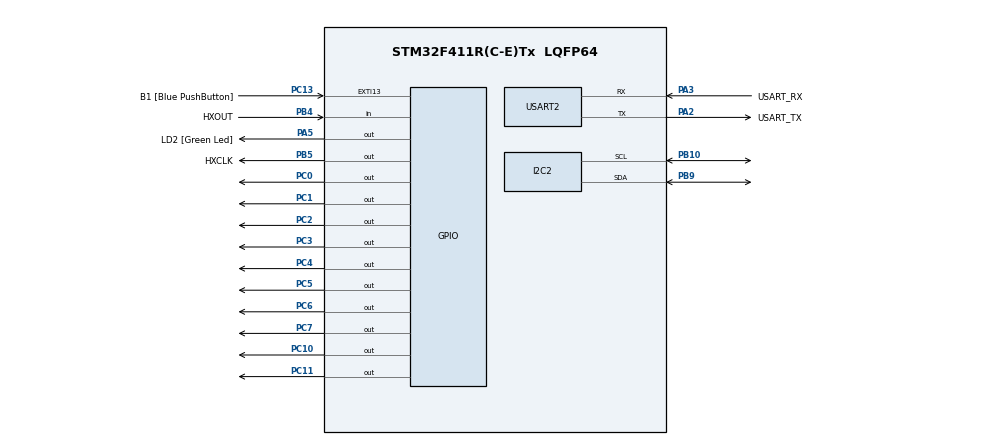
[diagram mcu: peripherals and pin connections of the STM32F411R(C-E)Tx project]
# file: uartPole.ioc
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FREERTOS.BinarySemaphores01=myBinarySem01,Dynamic,NULL;myBinarySem02,Dynamic,NULL
FREERTOS.Tasks01=defaultTask,8,128,StartDefaultTask,Default,NULL,Dynamic,NULL,NULL;myTask02,48,1024,StartTask02,Default,NULL,Dynamic,NULL,NULL;myTask03,24,1024,StartTask03,Default,NULL,Dynamic,NULL,NULL;myTask04,8,1024,StartTask04,Default,NULL,Dynamic,NULL,NULL
Mcu.Family=STM32F4
Mcu.Name=STM32F411R(C-E)Tx
Mcu.Package=LQFP64
NVIC.PriorityGroup=NVIC_PRIORITYGROUP_4
NVIC.USART2_IRQn=true\:8\:0\:true\:false\:true\:true\:true\:true\:true
PA13.GPIO_Label=TMS
PA13.Mode=Serial_Wire
PA13.Signal=SYS_JTMS-SWDIO
PA14.GPIO_Label=TCK
PA14.Mode=Serial_Wire
PA14.Signal=SYS_JTCK-SWCLK
PA2.GPIO_Label=USART_TX
PA2.Mode=Asynchronous
PA2.Signal=USART2_TX
PA3.GPIO_Label=USART_RX
PA3.Mode=Asynchronous
PA3.Signal=USART2_RX
PA5.GPIO_Label=LD2 [Green Led]
PA5.Signal=GPIO_Output
PB10.Mode=I2C
PB10.Signal=I2C2_SCL
PB3.GPIO_Label=SWO
PB3.Signal=SYS_JTDO-SWO
PB4.GPIO_Label=HXOUT
PB4.Signal=GPIO_Input
PB5.GPIO_Label=HXCLK
PB5.Signal=GPIO_Output
PB9.Mode=I2C
PB9.Signal=I2C2_SDA
PC0.GPIO_PuPd=GPIO_PULLUP
PC0.GPIO_Speed=GPIO_SPEED_FREQ_HIGH
PC0.Signal=GPIO_Output
PC1.GPIO_PuPd=GPIO_PULLUP
PC1.GPIO_Speed=GPIO_SPEED_FREQ_HIGH
PC1.Signal=GPIO_Output
PC10.Signal=GPIO_Output
PC11.Signal=GPIO_Output
PC13-ANTI_TAMP.GPIO_Label=B1 [Blue PushButton]
PC13-ANTI_TAMP.GPIO_ModeDefaultEXTI=GPIO_MODE_IT_FALLING
PC13-ANTI_TAMP.Signal=GPXTI13
PC14-OSC32_IN.Mode=LSE-External-Oscillator
PC14-OSC32_IN.Signal=RCC_OSC32_IN
PC15-OSC32_OUT.Mode=LSE-External-Oscillator
PC15-OSC32_OUT.Signal=RCC_OSC32_OUT
PC2.GPIO_PuPd=GPIO_PULLUP
PC2.Signal=GPIO_Output
PC3.GPIO_PuPd=GPIO_PULLUP
PC3.Signal=GPIO_Output
PC4.GPIO_PuPd=GPIO_PULLUP
PC4.Signal=GPIO_Output
PC5.GPIO_PuPd=GPIO_PULLUP
PC5.Signal=GPIO_Output
PC6.GPIO_PuPd=GPIO_PULLUP
PC6.Signal=GPIO_Output
PC7.GPIO_PuPd=GPIO_PULLUP
PC7.Signal=GPIO_Output
PH0\ -\ OSC_IN.Mode=HSE-External-Clock-Source
PH0\ -\ OSC_IN.Signal=RCC_OSC_IN
PH1\ -\ OSC_OUT.Mode=HSE-External-Clock-Source
PH1\ -\ OSC_OUT.Signal=RCC_OSC_OUT
ProjectManager.HeapSize=0x200
ProjectManager.StackSize=0x400
ProjectManager.TargetToolchain=MDK-ARM V5.32
RCC.48MHZClocksFreq_Value=50000000
RCC.AHBFreq_Value=100000000
RCC.APB1CLKDivider=RCC_HCLK_DIV2
RCC.APB1Freq_Value=50000000
RCC.APB1TimFreq_Value=100000000
RCC.APB2Freq_Value=100000000
RCC.APB2TimFreq_Value=100000000
RCC.CortexFreq_Value=100000000
RCC.FLatency-AdvancedSettings=FLASH_LATENCY_3
RCC.HCLKFreq_Value=100000000
RCC.HSE_VALUE=8000000
RCC.HSI_VALUE=16000000
RCC.PLLM=8
RCC.PLLN=100
RCC.SYSCLKFreq_VALUE=100000000
RCC.SYSCLKSource=RCC_SYSCLKSOURCE_PLLCLK
RCC.VCOOutputFreq_Value=200000000
TIM4.Period=4
TIM4.Prescaler=99
USART2.VirtualMode=VM_ASYNC
VP_FREERTOS_VS_CMSIS_V2.Mode=CMSIS_V2
VP_TIM4_VS_ClockSourceINT.Mode=Internal
board=NUCLEO-F411RE

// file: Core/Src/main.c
/* USER CODE BEGIN Header */
/**
  ******************************************************************************
  * @file           : main.c
  * @brief          : Main program body
  ******************************************************************************
  * @attention
  *
  * Copyright (c) 2022 STMicroelectronics.
  * All rights reserved.
  *
  * This software is licensed under terms that can be found in the LICENSE file
  * in the root directory of this software component.
  * If no LICENSE file comes with this software, it is provided AS-IS.
  *
  ******************************************************************************
  */
/* USER CODE END Header */
#include "main.h"
#include "cmsis_os.h"
#include "i2c.h"
#include "tim.h"
#include "usart.h"
#include "gpio.h"

/* USER CODE BEGIN Includes */
#include "delay.h"
/* USER CODE END Includes */

void SystemClock_Config(void);
void MX_FREERTOS_Init(void);

int main(void)
{

  /* MCU Configuration--------------------------------------------------------*/

  /* Reset of all peripherals, Initializes the Flash interface and the Systick. */
  HAL_Init();

  /* Configure the system clock */
  SystemClock_Config();

  /* Initialize all configured peripherals */
  MX_GPIO_Init();
  MX_USART2_UART_Init();
  MX_TIM4_Init();
  MX_I2C2_Init();
  /* USER CODE BEGIN 2 */
	  if(DWT_Delay_Init())

  {

    Error_Handler(); /* Call Error Handler */

  }
  /* USER CODE END 2 */

  /* Init scheduler */
  osKernelInitialize();  /* Call init function for freertos objects (in freertos.c) */
  MX_FREERTOS_Init();

  /* Start scheduler */
  osKernelStart();

  /* We should never get here as control is now taken by the scheduler */
  /* Infinite loop */
  while (1)
  {

  }
}

void SystemClock_Config(void)
{
  LL_FLASH_SetLatency(LL_FLASH_LATENCY_3);
  while(LL_FLASH_GetLatency()!= LL_FLASH_LATENCY_3)
  {
  }
  LL_PWR_SetRegulVoltageScaling(LL_PWR_REGU_VOLTAGE_SCALE1);
  LL_RCC_HSI_SetCalibTrimming(16);
  LL_RCC_HSI_Enable();

   /* Wait till HSI is ready */
  while(LL_RCC_HSI_IsReady() != 1)
  {

  }
  LL_RCC_PLL_ConfigDomain_SYS(LL_RCC_PLLSOURCE_HSI, LL_RCC_PLLM_DIV_8, 100, LL_RCC_PLLP_DIV_2);
  LL_RCC_PLL_Enable();

   /* Wait till PLL is ready */
  while(LL_RCC_PLL_IsReady() != 1)
  {

  }
  LL_RCC_SetAHBPrescaler(LL_RCC_SYSCLK_DIV_1);
  LL_RCC_SetAPB1Prescaler(LL_RCC_APB1_DIV_2);
  LL_RCC_SetAPB2Prescaler(LL_RCC_APB2_DIV_1);
  LL_RCC_SetSysClkSource(LL_RCC_SYS_CLKSOURCE_PLL);

   /* Wait till System clock is ready */
  while(LL_RCC_GetSysClkSource() != LL_RCC_SYS_CLKSOURCE_STATUS_PLL)
  {

  }
  LL_SetSystemCoreClock(100000000);

   /* Update the time base */
  if (HAL_InitTick (TICK_INT_PRIORITY) != HAL_OK)
  {
    Error_Handler();
  }
  LL_RCC_SetTIMPrescaler(LL_RCC_TIM_PRESCALER_TWICE);
}

void Error_Handler(void)
{
  __disable_irq();
  while (1)
  {
  }
}

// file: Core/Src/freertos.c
/* USER CODE BEGIN Header */
/**
  ******************************************************************************
  * File Name          : freertos.c
  * Description        : Code for freertos applications
  ******************************************************************************
  * @attention
  *
  * Copyright (c) 2022 STMicroelectronics.
  * All rights reserved.
  *
  * This software is licensed under terms that can be found in the LICENSE file
  * in the root directory of this software component.
  * If no LICENSE file comes with this software, it is provided AS-IS.
  *
  ******************************************************************************
  */
/* USER CODE END Header */

#include "FreeRTOS.h"
#include "task.h"
#include "main.h"
#include "cmsis_os.h"

/* USER CODE BEGIN Includes */
#include "gpio.h"
//#include "tim.h"
#include "delay.h"
#include <string.h>
#include <stdio.h>
#include "usart.h"
#include "queue.h"
#include "HX711.h"
#include "oled.h"

#include "iic.h"
#include "ad5933.h"

#include "bmp.h"
/* USER CODE END Includes */

/* USER CODE BEGIN Variables */
uint32_t realForce=0;
uint8_t forceTXBuffer[200];
uint8_t impTXBuffer[800];
uint8_t phTXBuffer[800];
uint8_t singleSample[100];
uint8_t pair_code;

ImpeType  impe;

/* USER CODE END Variables */
/* Definitions for defaultTask */
osThreadId_t defaultTaskHandle;
const osThreadAttr_t defaultTask_attributes = {
  .name = "defaultTask",
  .stack_size = 128 * 4,
  .priority = (osPriority_t) osPriorityLow,
};
/* Definitions for myTask02 */
osThreadId_t myTask02Handle;
const osThreadAttr_t myTask02_attributes = {
  .name = "myTask02",
  .stack_size = 1024 * 4,
  .priority = (osPriority_t) osPriorityRealtime,
};
/* Definitions for myTask03 */
osThreadId_t myTask03Handle;
const osThreadAttr_t myTask03_attributes = {
  .name = "myTask03",
  .stack_size = 1024 * 4,
  .priority = (osPriority_t) osPriorityNormal,
};
/* Definitions for myTask04 */
osThreadId_t myTask04Handle;
const osThreadAttr_t myTask04_attributes = {
  .name = "myTask04",
  .stack_size = 1024 * 4,
  .priority = (osPriority_t) osPriorityLow,
};
/* Definitions for myBinarySem01 */
osSemaphoreId_t myBinarySem01Handle;
const osSemaphoreAttr_t myBinarySem01_attributes = {
  .name = "myBinarySem01"
};
/* Definitions for myBinarySem02 */
osSemaphoreId_t myBinarySem02Handle;
const osSemaphoreAttr_t myBinarySem02_attributes = {
  .name = "myBinarySem02"
};

/* USER CODE BEGIN FunctionPrototypes */
void adg708set_pin_port(uint8_t pin_pair_id);

/* USER CODE END FunctionPrototypes */

void StartDefaultTask(void *argument);
void StartTask02(void *argument);
void StartTask03(void *argument);
void StartTask04(void *argument);

void MX_FREERTOS_Init(void); /* (MISRA C 2004 rule 8.1) */

void MX_FREERTOS_Init(void) {

  /* Create the semaphores(s) */
  /* creation of myBinarySem01 */
  myBinarySem01Handle = osSemaphoreNew(1, 1, &myBinarySem01_attributes);

  /* creation of myBinarySem02 */
  myBinarySem02Handle = osSemaphoreNew(1, 1, &myBinarySem02_attributes);

  /* Create the thread(s) */
  /* creation of defaultTask */
  defaultTaskHandle = osThreadNew(StartDefaultTask, NULL, &defaultTask_attributes);

  /* creation of myTask02 */
  myTask02Handle = osThreadNew(StartTask02, NULL, &myTask02_attributes);

  /* creation of myTask03 */
  myTask03Handle = osThreadNew(StartTask03, NULL, &myTask03_attributes);

  /* creation of myTask04 */
  myTask04Handle = osThreadNew(StartTask04, NULL, &myTask04_attributes);

}

void StartDefaultTask(void *argument)
{
  /* USER CODE BEGIN StartDefaultTask */
  /* Infinite loop */
  for(;;)
  {
		LL_GPIO_TogglePin(GPIOA,LL_GPIO_PIN_5);
		osDelay(500);
  }
  /* USER CODE END StartDefaultTask */
}

void StartTask02(void *argument)
{

  /* USER CODE BEGIN StartTask02 */
	uint8_t i;
	uint8_t itemp[50];
	//IIC_Init();
	//OLED_Init();
	float temperature;
	temperature = Temperature_Test();
	AD5933_FreInit(100000,100);
//	OLED_DrawBMP(0,0,127,7,BMP0);
//	osDelay(3000);
//	OLED_Clear();
//	OLED_ShowString(0,0,"force",12);
//	OLED_ShowString(0,2,"Am",12);
//	OLED_ShowString(0,4,"Ph",12);

//	HAL_Delay(300);
  /* Infinite loop */
	osDelay(4000);
	sprintf(itemp, "%.1f", temperature);
	OLED_ShowString(60,4,itemp,12);
  for(;;)
  {
		osSemaphoreAcquire(myBinarySem02Handle,osWaitForever);

		for(i=0, pair_code=0;i<6;i++)
		{
			adg708set_pin_port(pair_code++);
			AD5933_StartTest(0);
			AD5933_ReadImpedance(&impe);
			sprintf(itemp, "%.1f,", impe.Impedance);
			strcat(impTXBuffer,(const char *)itemp);
			sprintf(itemp, "%.3f,", impe.Phase);
			strcat(phTXBuffer,(const char *)itemp);
			osDelay(1);
		}

//			AD5933_StartTest(0);
//			AD5933_ReadImpedance(&impe);
//			sprintf(itemp, "%.2f,%.2f\r\n", impe.Impedance,impe.Phase);
//			printString(itemp);

//		OLED_ShowNum(50,2,impe.Impedance,5,32);
//		OLED_ShowNum(50,4,impe.Phase,5,32);

		//HandleContinuousReception();
		osDelay(100);
  }
  /* USER CODE END StartTask02 */
}

void StartTask03(void *argument)
{
  /* USER CODE BEGIN StartTask03 */
	/*task3 majored in force meter*/
	//pair_code = 0;
	uint8_t ftemp[15];
	uint8_t listLen;
	OLED_Init();
	OLED_DrawBMP(0,0,127,7,BMP0);
	osDelay(3000);
	OLED_Clear();
	OLED_ShowString(0,0,"Force Impedance",12);
	OLED_ShowString(0,2,"force",12);
	OLED_ShowString(0,4,"temp",12);
	StartReception();
	Get_Maopi();
	osDelay(1000);
	//printString("welcome\n");
  /* Infinite loop */
  for(;;)
  {
		osSemaphoreAcquire(myBinarySem01Handle,osWaitForever);
		switch(pycommand)
		{
			case 1://continually add force into the force list
				Get_Weight();
				realForce=Weight_Shiwu;
				sprintf(ftemp, "%d,", realForce);
				OLED_ShowNum(60,2,realForce,4,32);
				strcat(forceTXBuffer,(const char *)ftemp);
			//release sem02 to release task02 to change the mux
				osSemaphoreRelease(myBinarySem02Handle);

				break;
			case 2://continually add force into the force list

			//release sem02 to release task02 to change the mux
			//	osSemaphoreRelease(myBinarySem02Handle);

				break;
			case 3://reset force and impedance list first
				forceTXBuffer[0]='[';
				forceTXBuffer[1]='\0';
				impTXBuffer[0]='[';
				impTXBuffer[1]='\0';
				phTXBuffer[0] = '[';
				phTXBuffer[1] = '\0';
				printString("ok\n");
				pair_code=0;
//				aRXIndication=1;
				break;
			case 4://complete force list construction
				listLen=strlen(forceTXBuffer);
				forceTXBuffer[listLen-1]=']';
				forceTXBuffer[listLen]='\n';
				forceTXBuffer[listLen+1]='\0';
				printString(forceTXBuffer);
				/*set rx indication*/
//				aRXIndication=1;
				break;
			case 5://complete Impedance list construction
				listLen=strlen(impTXBuffer);
				impTXBuffer[listLen-1]=']';
				impTXBuffer[listLen]='\n';
				impTXBuffer[listLen+1]='\0';
				printString(impTXBuffer);
				/*set rx indication*/
//				aRXIndication=1;
				break;
			case 6://complete Impedance list construction
				listLen=strlen(phTXBuffer);
				phTXBuffer[listLen-1]=']';
				phTXBuffer[listLen]='\n';
				phTXBuffer[listLen+1]='\0';
				printString(phTXBuffer);
				/*set rx indication*/
//				aRXIndication=1;
				break;
			case 7://single sampling process
				singleSample[0]='[';
				singleSample[1]='\0';
				impTXBuffer[0]='\0';
				phTXBuffer[0] = '\0';
				Get_Weight();
				realForce=Weight_Shiwu;
				sprintf(ftemp, "%d,", realForce);
				strcat(singleSample,(const char *)ftemp);
				//release sem02 to release task02 to change the mux
				osSemaphoreRelease(myBinarySem02Handle);
				osDelay(50);
				strcat(singleSample, (const char *)impTXBuffer);
				strcat(singleSample, (const char *)phTXBuffer);
				listLen=strlen(singleSample);
				singleSample[listLen-1]=']';
				singleSample[listLen]='\n';
				singleSample[listLen+1]='\0';
				printString(singleSample);
				break;

			default:
//				aRXIndication=1;
				break;
		}

    osDelay(1);
  }

  /* USER CODE END StartTask03 */
}

void StartTask04(void *argument)
{
  /* USER CODE BEGIN StartTask04 */
	//

  /* Infinite loop */
  for(;;)
  {
    osDelay(1);
  }
  /* USER CODE END StartTask04 */
}

/* USER CODE BEGIN Application */

/**
* @brief set up switchers' array
* PC7 PC6 PC5 PC4 PC3 PC2 PC1 PC0
* ENB B2  B1  B0  ENA A2  A1  A0
* @param pin_pair_id
* @retval
* @auther lu jiaxin
*/
void adg708set_pin_port(uint8_t pin_pair_id)
{
	switch(pin_pair_id)
	{
		case 0:
			LL_GPIO_WriteOutputPort(GPIOC, 0x00000098);
			break;
		case 1:
			LL_GPIO_WriteOutputPort(GPIOC, 0x000000a9);
			break;
		case 2:
			LL_GPIO_WriteOutputPort(GPIOC, 0x000000ba);
			break;
		case 3:
			LL_GPIO_WriteOutputPort(GPIOC, 0x000000cb);
		case 4:
			LL_GPIO_WriteOutputPort(GPIOC, 0x000000dc);
		case 5:
			LL_GPIO_WriteOutputPort(GPIOC, 0x0000008d);
			break;
	}

}

/* USER CODE END Application */
